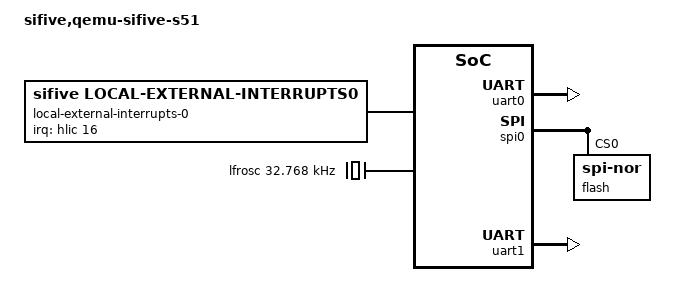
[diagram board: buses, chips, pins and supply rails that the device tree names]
/dts-v1/;
/ {
        #address-cells = <1>;
        #size-cells = <1>;
	/* Virtual platform based on HiFive1 Rev. B for with
	 *
	 * - RV64 core
	 * - secondary UART
	 * - HCA crypto accelerator
	 * - test finisher virtual device
	 * - more interrupt channels
	 * - larger RAM/ROM memory space
	 * - no PWM/I2C
	 * - single QSPI
	 *
	 * Compatible with qemu-system-riscv64 -machine sifive_e
	 */
        compatible = "sifive,qemu-sifive-s51";
        model = "sifive,qemu-sifive-s51";
        cpus {
                #address-cells = <1>;
                #size-cells = <0>;
                compatible = "sifive,fs510-g000";
                L6: cpu@0 {
                        clocks = <&hfclk>;
                        compatible = "riscv";
                        device_type = "cpu";
                        i-cache-block-size = <64>;
                        i-cache-sets = <128>;
                        i-cache-size = <16384>;
                        next-level-cache = <&spi0>;
                        reg = <0>;
                        riscv,isa = "rv64imac";
                        riscv,pmpregions = <8>;
                        sifive,itim = <&itim>;
                        sifive,dtim = <&dtim>;
                        status = "okay";
                        timebase-frequency = <16000000>;
                        hardware-exec-breakpoint-count = <4>;
                        hlic: interrupt-controller {
                                #interrupt-cells = <1>;
                                compatible = "riscv,cpu-intc";
                                interrupt-controller;
                        };
                };
        };
        soc {
                #address-cells = <1>;
                #size-cells = <1>;
                #clock-cells = <1>;
                compatible = "sifive,qemu-sifive-s51";
                ranges;
                local-external-interrupts-0 {
                        compatible = "sifive,local-external-interrupts0";
                        interrupt-parent = <&hlic>;
                        interrupts = <16 17 18 19 20 21 22 23 24 25 26 27 28 29 30 31>;
                };
                global-external-interrupts {
                        compatile = "sifive,global-external-interrupts0";
                        interrupt-parent = <&plic>;
                        interrupts = <1 2>;
                };
                hfclk: clock-0 {
                        #clock-cells = <0>;
                        compatible = "fixed-clock";
                        clock-frequency = <16000000>;
                };
                lfrosc: clock-1 {
                        #clock-cells = <0>;
                        compatible = "fixed-clock";
                        clock-frequency = <32768>;
                };
                debug-controller@0 {
                        compatible = "sifive,debug-011", "riscv,debug-011";
                        interrupts-extended = <&hlic 65535>;
                        reg = <0x0 0x1000>;
                        reg-names = "control";
                };
                maskrom@1000 {
                        reg = <0x1000 0x2000>;
                        reg-names = "mem";
                };
                otp@20000 {
                        reg = <0x20000 0x2000 0x10010000 0x1000>;
                        reg-names = "mem", "control";
                };
                test: test@100000 {
                        compatible = "sifive,test0";
                        reg = <0x100000 0x1000>;
                        reg-names = "control";
                };
                clint: clint@2000000 {
                        compatible = "riscv,clint0";
                        interrupts-extended = <&hlic 3 &hlic 7>;
                        reg = <0x2000000 0x10000>;
                        reg-names = "control";
                };
                itim: itim@8000000 {
                        compatible = "sifive,itim0";
                        reg = <0x8000000 0x2000>;
                        reg-names = "mem";
                };
                plic: interrupt-controller@c000000 {
                        #interrupt-cells = <1>;
                        compatible = "riscv,plic0";
                        interrupt-controller;
                        interrupts-extended = <&hlic 11>;
                        reg = <0xc000000 0x4000000>;
                        reg-names = "control";
                        riscv,max-priority = <7>;
                        riscv,ndev = <64>;
                };
                aon: aon@10000000 {
                        compatible = "sifive,aon0";
                        reg = <0x10000000 0x8000>;
                        reg-names = "mem";
                };
                prci: prci@10008000 {
                        compatible = "sifive,fe310-g000,prci";
                        reg = <0x10008000 0x8000>;
                        reg-names = "mem";
                };
                gpio0: gpio@10012000 {
                        compatible = "sifive,gpio0";
                        interrupt-parent = <&plic>;
                        #gpio-cells = <1>;
                        interrupts = <8 9 10 11 12 13 14 15 16 17 18 19 20 21 22
                                      23 24 25 26 27 28 29 30 31 32 33 34 35 36
                                      37 38 39>;
                        reg = <0x10012000 0x1000>;
                        reg-names = "control";
                };
                led-0 {
                        compatible = "sifive,gpio-leds";
                        label = "LD0red";
                        gpios = <&gpio0 22>;
                        linux,default-trigger = "none";
                };
                led-1 {
                        compatible = "sifive,gpio-leds";
                        label = "LD0green";
                        gpios = <&gpio0 19>;
                        linux,default-trigger = "none";
                };
                led-2 {
                        compatible = "sifive,gpio-leds";
                        label = "LD0blue";
                        gpios = <&gpio0 21>;
                        linux,default-trigger = "none";
                };
                uart0: serial@10013000 {
                        compatible = "sifive,uart0";
                        interrupt-parent = <&plic>;
                        interrupts = <3>;
                        reg = <0x10013000 0x1000>;
                        reg-names = "control";
                        clocks = <&hfclk>;
                        pinmux = <&gpio0 0x0 0x30000>;
                };
                spi0: spi@10014000 {
                        compatible = "sifive,spi0";
                        interrupt-parent = <&plic>;
                        interrupts = <5>;
                        reg = <0x10014000 0x1000 0x20000000 0x20000000>;
                        reg-names = "control", "mem";
                        clocks = <&hfclk>;
                        pinmux = <&gpio0 0x0 0x0>;
                        #address-cells = <1>;
                        #size-cells = <0>;
                        flash@0 {
                                compatible = "jedec,spi-nor";
                                reg = <0x0>;
                        };
                };
                hca0: hca@10018000 {
                    compatible = "sifive,hca-0.5";
                    interrupt-parent = <&plic>;
                    interrupts = <53 54>;
                    sifive,phyaddrwidth = <32>;
                    reg = <0x10018000 0x1000>;
                    reg-names = "control";
                };
                uart1: serial@10023000 {
                        compatible = "sifive,uart0";
                        interrupt-parent = <&plic>;
                        interrupts = <4>;
                        reg = <0x10023000 0x1000>;
                        reg-names = "control";
                        clocks = <&hfclk>;
                        pinmux = <&gpio0 0x0 0x840000>;
                };
                dtim: dtim@80000000 {
                        compatible = "sifive,dtim0";
                        reg = <0x80000000 0x400000>;
                        reg-names = "mem";
                };
        };
};
